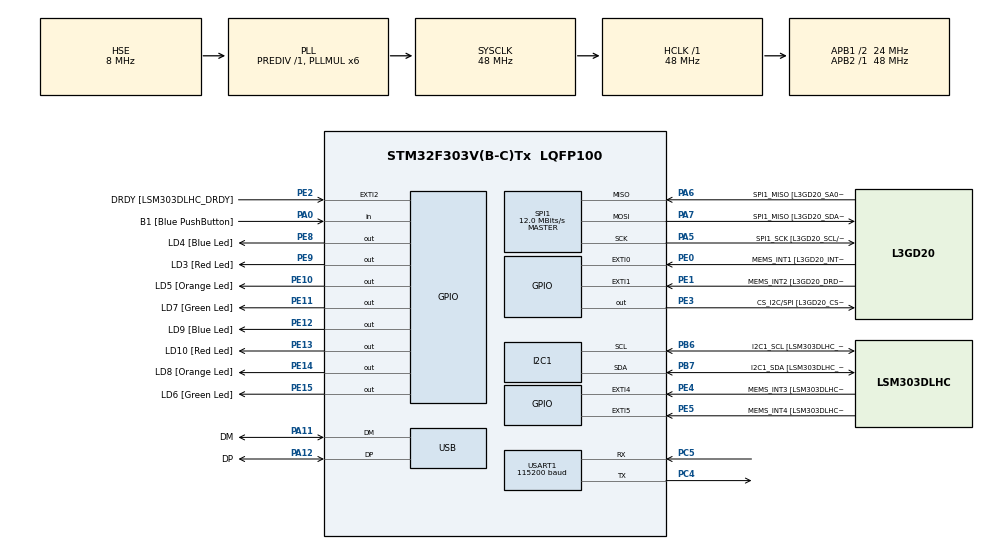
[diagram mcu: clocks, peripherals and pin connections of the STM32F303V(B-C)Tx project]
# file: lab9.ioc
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I2C1.Timing=0x00201D2B
I2C1.Timing-I2C=0x2000090E
Mcu.Family=STM32F3
Mcu.Name=STM32F303V(B-C)Tx
Mcu.Package=LQFP100
NVIC.PriorityGroup=NVIC_PRIORITYGROUP_0
PA0.GPIO_Label=B1 [Blue PushButton]
PA0.Signal=GPIO_Input
PA11.GPIO_Label=DM
PA11.Mode=Device
PA11.Signal=USB_DM
PA12.GPIO_Label=DP
PA12.Mode=Device
PA12.Signal=USB_DP
PA13.GPIO_Label=SWDIO
PA13.Mode=Serial_Wire
PA13.Signal=SYS_JTMS-SWDIO
PA14.GPIO_Label=SWCLK
PA14.Mode=Serial_Wire
PA14.Signal=SYS_JTCK-SWCLK
PA5.GPIO_Label=SPI1_SCK [L3GD20_SCL/SPC]
PA5.Mode=Full_Duplex_Master
PA5.Signal=SPI1_SCK
PA6.GPIO_Label=SPI1_MISO [L3GD20_SA0/SDO]
PA6.Mode=Full_Duplex_Master
PA6.Signal=SPI1_MISO
PA7.GPIO_Label=SPI1_MISO [L3GD20_SDA/SDI/SDO]
PA7.Mode=Full_Duplex_Master
PA7.Signal=SPI1_MOSI
PB3.GPIO_Label=SWO
PB3.Signal=SYS_JTDO-TRACESWO
PB6.GPIO_Label=I2C1_SCL [LSM303DLHC_SCL]
PB6.GPIO_Pu=GPIO_PULLUP
PB6.Mode=I2C
PB6.Signal=I2C1_SCL
PB7.GPIO_Label=I2C1_SDA [LSM303DLHC_SDA]
PB7.GPIO_Pu=GPIO_PULLUP
PB7.Mode=I2C
PB7.Signal=I2C1_SDA
PC14-OSC32_IN.GPIO_Label=OSC32_IN
PC14-OSC32_IN.Signal=RCC_OSC32_IN
PC15-OSC32_OUT.GPIO_Label=OSC32_OUT
PC15-OSC32_OUT.Signal=RCC_OSC32_OUT
PC4.Mode=Asynchronous
PC4.Signal=USART1_TX
PC5.Mode=Asynchronous
PC5.Signal=USART1_RX
PE0.GPIO_Label=MEMS_INT1 [L3GD20_INT1]
PE0.GPIO_ModeDefaultEXTI=GPIO_MODE_EVT_RISING
PE0.Signal=GPXTI0
PE1.GPIO_Label=MEMS_INT2 [L3GD20_DRDY/INT2]
PE1.GPIO_ModeDefaultEXTI=GPIO_MODE_EVT_RISING
PE1.Signal=GPXTI1
PE10.GPIO_Label=LD5 [Orange Led]
PE10.Signal=GPIO_Output
PE11.GPIO_Label=LD7 [Green Led]
PE11.Signal=GPIO_Output
PE12.GPIO_Label=LD9 [Blue Led]
PE12.Signal=GPIO_Output
PE13.GPIO_Label=LD10 [Red Led]
PE13.Signal=GPIO_Output
PE14.GPIO_Label=LD8 [Orange Led]
PE14.Signal=GPIO_Output
PE15.GPIO_Label=LD6 [Green Led]
PE15.Signal=GPIO_Output
PE2.GPIO_Label=DRDY [LSM303DLHC_DRDY]
PE2.GPIO_ModeDefaultEXTI=GPIO_MODE_EVT_RISING
PE2.Signal=GPXTI2
PE3.GPIO_Label=CS_I2C/SPI [L3GD20_CS_I2C/SPI]
PE3.Signal=GPIO_Output
PE4.GPIO_Label=MEMS_INT3 [LSM303DLHC_INT1]
PE4.GPIO_ModeDefaultEXTI=GPIO_MODE_EVT_RISING
PE4.Signal=GPXTI4
PE5.GPIO_Label=MEMS_INT4 [LSM303DLHC_INT2]
PE5.GPIO_ModeDefaultEXTI=GPIO_MODE_EVT_RISING
PE5.Signal=GPXTI5
PE8.GPIO_Label=LD4 [Blue Led]
PE8.Signal=GPIO_Output
PE9.GPIO_Label=LD3 [Red Led]
PE9.Signal=GPIO_Output
PF0-OSC_IN.GPIO_Label=OSC_IN
PF0-OSC_IN.Mode=HSE-External-Clock-Source
PF0-OSC_IN.Signal=RCC_OSC_IN
PF1-OSC_OUT.GPIO_Label=OSC_OUT
PF1-OSC_OUT.Signal=RCC_OSC_OUT
ProjectManager.HeapSize=0x200
ProjectManager.StackSize=0x400
ProjectManager.TargetToolchain=CMake
RCC.AHBFreq_Value=48000000
RCC.APB1CLKDivider=RCC_HCLK_DIV2
RCC.APB1Freq_Value=24000000
RCC.APB1TimFreq_Value=48000000
RCC.APB2Freq_Value=48000000
RCC.APB2TimFreq_Value=48000000
RCC.CortexFreq_Value=48000000
RCC.HCLKFreq_Value=48000000
RCC.HSE_VALUE=8000000
RCC.HSI_VALUE=8000000
RCC.LSE_VALUE=32768
RCC.PLLMUL=RCC_PLL_MUL6
RCC.SYSCLKFreq_VALUE=48000000
RCC.SYSCLKSourceVirtual=RCC_SYSCLKSOURCE_PLLCLK
RCC.USBFreq_Value=48000000
SPI1.BaudRatePrescaler=SPI_BAUDRATEPRESCALER_4
SPI1.BaudRatePrescaler-Full_Duplex_Master=SPI_BAUDRATEPRESCALER_2
SPI1.CalculateBaudRate=12.0 MBits/s
SPI1.CalculateBaudRate-Full_Duplex_Master=24.0 MBits/s
SPI1.Direction=SPI_DIRECTION_2LINES
SPI1.Mode=SPI_MODE_MASTER
SPI1.Mode-Full_Duplex_Master=SPI_MODE_MASTER
SPI1.VirtualType=VM_MASTER
USART1.BaudRate=115200
USART1.VirtualMode-Asynchronous=VM_ASYNC
board=STM32F3DISCOVERY

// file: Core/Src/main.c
/* USER CODE BEGIN Header */
/**
  ******************************************************************************
  * @file           : main.c
  * @brief          : Main program body
  ******************************************************************************
  * @attention
  *
  * Copyright (c) 2026 STMicroelectronics.
  * All rights reserved.
  *
  * This software is licensed under terms that can be found in the LICENSE file
  * in the root directory of this software component.
  * If no LICENSE file comes with this software, it is provided AS-IS.
  *
  ******************************************************************************
  */
/* USER CODE END Header */
#include "main.h"

/* USER CODE BEGIN Includes */
#include "stdio.h"
#include "stm32f3xx_hal.h"
#include "stm32f3xx_hal_i2c.h"
#include "string.h"
#include <stdint.h>
/* USER CODE END Includes */

/* USER CODE BEGIN PTD */
typedef struct {
  int16_t x_r , y_r , z_r;
  float x , y , z;
  float x_offset , y_offset , z_offset;
} sensor;

/* USER CODE END PTD */

I2C_HandleTypeDef hi2c1;

SPI_HandleTypeDef hspi1;

UART_HandleTypeDef huart1;

PCD_HandleTypeDef hpcd_USB_FS;

/* USER CODE BEGIN PV */

// Task 1:
// uint8_t recieve = 0;
// char msg[128];

/* USER CODE END PV */

void SystemClock_Config(void);
static void MX_GPIO_Init(void);
static void MX_I2C1_Init(void);
static void MX_SPI1_Init(void);
static void MX_USART1_UART_Init(void);
static void MX_USB_PCD_Init(void);
/* USER CODE BEGIN PFP */

// Task 2:
void Init_LSM() {
  uint8_t val1 = 0x67;
  uint8_t val2 = 0x00;
  HAL_I2C_Mem_Write(&hi2c1, 0x32, 0x20, I2C_MEMADD_SIZE_8BIT, &val1, 1, HAL_MAX_DELAY);
  HAL_I2C_Mem_Write(&hi2c1, 0x32, 0x23, I2C_MEMADD_SIZE_8BIT, &val2, 1, HAL_MAX_DELAY);
}

void Offset_LSM(sensor *lsm) {
  float x_total = 0;
  float y_total = 0;
  float z_total = 0;
  uint8_t xl , xh , yl , yh , zl , zh;
  for (int i = 0 ; i < 25 ; i++) {
    HAL_I2C_Mem_Read(&hi2c1, 0x33, 0x28, I2C_MEMADD_SIZE_8BIT, &xl, 1, HAL_MAX_DELAY);
    HAL_I2C_Mem_Read(&hi2c1, 0x33, 0x29, I2C_MEMADD_SIZE_8BIT, &xh, 1, HAL_MAX_DELAY);
    HAL_I2C_Mem_Read(&hi2c1, 0x33, 0x2A, I2C_MEMADD_SIZE_8BIT, &yl, 1, HAL_MAX_DELAY);
    HAL_I2C_Mem_Read(&hi2c1, 0x33, 0x2B, I2C_MEMADD_SIZE_8BIT, &yh, 1, HAL_MAX_DELAY);
    HAL_I2C_Mem_Read(&hi2c1, 0x33, 0x2C, I2C_MEMADD_SIZE_8BIT, &zl, 1, HAL_MAX_DELAY);
    HAL_I2C_Mem_Read(&hi2c1, 0x33, 0x2D, I2C_MEMADD_SIZE_8BIT, &zh, 1, HAL_MAX_DELAY);
    int16_t x = (int16_t) ((xh << 8) | xl);
    int16_t y = (int16_t) ((yh << 8) | yl);
    int16_t z = (int16_t) ((zh << 8) | zl);
    x = x >> 6;
    y = y >> 6;
    z = z >> 6;
    x_total += (x * 3.9 / 1000);
    y_total += (y * 3.9 / 1000);
    z_total += (z * 3.9 / 1000);
    // HAL_Delay(10);
  }
  lsm->x_offset = x_total / 25;
  lsm->y_offset = y_total / 25;
  lsm->z_offset = -1 + z_total / 25;
    }

void Read_LSM(sensor *lsm) {
  uint8_t xl , xh , yl , yh , zl , zh;
  HAL_I2C_Mem_Read(&hi2c1, 0x33, 0x28, I2C_MEMADD_SIZE_8BIT, &xl, 1, HAL_MAX_DELAY);
  HAL_I2C_Mem_Read(&hi2c1, 0x33, 0x29, I2C_MEMADD_SIZE_8BIT, &xh, 1, HAL_MAX_DELAY);
  HAL_I2C_Mem_Read(&hi2c1, 0x33, 0x2A, I2C_MEMADD_SIZE_8BIT, &yl, 1, HAL_MAX_DELAY);
  HAL_I2C_Mem_Read(&hi2c1, 0x33, 0x2B, I2C_MEMADD_SIZE_8BIT, &yh, 1, HAL_MAX_DELAY);
  HAL_I2C_Mem_Read(&hi2c1, 0x33, 0x2C, I2C_MEMADD_SIZE_8BIT, &zl, 1, HAL_MAX_DELAY);
  HAL_I2C_Mem_Read(&hi2c1, 0x33, 0x2D, I2C_MEMADD_SIZE_8BIT, &zh, 1, HAL_MAX_DELAY);
  lsm->x_r = (int16_t) ((xh << 8) | xl);
  lsm->y_r = (int16_t) ((yh << 8) | yl);
  lsm->z_r = (int16_t) ((zh << 8) | zl);
  lsm->x_r = lsm->x_r >> 6;
  lsm->y_r = lsm->y_r >> 6;
  lsm->z_r = lsm->z_r >> 6;
  lsm->x = (lsm->x_r * 3.9 / 1000) - lsm->x_offset;
  lsm->y = (lsm->y_r * 3.9 / 1000) - lsm->y_offset;
  lsm->z = (lsm->z_r * 3.9 / 1000) - lsm->z_offset;
}

void Print_LSM(sensor *lsm) {
  char msg[128];
  int len = sprintf(msg, "%.2f,%.2f,%.2f \r\n" , lsm->x , lsm->y , lsm->z);
  // int len = sprintf(msg, "%.2f \r\n" , lsm->x);
  HAL_UART_Transmit(&huart1 , (uint8_t*)msg , len , HAL_MAX_DELAY);
}

/* USER CODE END PFP */

int main(void)
{

  /* MCU Configuration--------------------------------------------------------*/

  /* Reset of all peripherals, Initializes the Flash interface and the Systick. */
  HAL_Init();

  /* Configure the system clock */
  SystemClock_Config();

  /* Initialize all configured peripherals */
  MX_GPIO_Init();
  MX_I2C1_Init();
  MX_SPI1_Init();
  MX_USART1_UART_Init();
  MX_USB_PCD_Init();

  /* Infinite loop */
  /* USER CODE BEGIN WHILE */

  // Task 2:
  sensor lsm = {0};
  Init_LSM();
  Offset_LSM(&lsm);

  while (1)
  {
    // Task 2:
    Read_LSM(&lsm);
    Print_LSM(&lsm);
    HAL_Delay(500);

    // TASK 1:
    // HAL_I2C_Mem_Read(&hi2c1 , 0x33 , 0x0F , I2C_MEMADD_SIZE_8BIT , &recieve , 1 , HAL_MAX_DELAY);
    // int len = sprintf(msg, "%X \r\n" , recieve);
    // HAL_UART_Transmit(&huart1 , (uint8_t*)msg , len , HAL_MAX_DELAY);
    // HAL_Delay(100);

    /* USER CODE END WHILE */

  }
}

void SystemClock_Config(void)
{
  RCC_OscInitTypeDef RCC_OscInitStruct = {0};
  RCC_ClkInitTypeDef RCC_ClkInitStruct = {0};
  RCC_PeriphCLKInitTypeDef PeriphClkInit = {0};

  /** Initializes the RCC Oscillators according to the specified parameters
  * in the RCC_OscInitTypeDef structure.
  */
  RCC_OscInitStruct.OscillatorType = RCC_OSCILLATORTYPE_HSI|RCC_OSCILLATORTYPE_HSE;
  RCC_OscInitStruct.HSEState = RCC_HSE_BYPASS;
  RCC_OscInitStruct.HSEPredivValue = RCC_HSE_PREDIV_DIV1;
  RCC_OscInitStruct.HSIState = RCC_HSI_ON;
  RCC_OscInitStruct.HSICalibrationValue = RCC_HSICALIBRATION_DEFAULT;
  RCC_OscInitStruct.PLL.PLLState = RCC_PLL_ON;
  RCC_OscInitStruct.PLL.PLLSource = RCC_PLLSOURCE_HSE;
  RCC_OscInitStruct.PLL.PLLMUL = RCC_PLL_MUL6;
  if (HAL_RCC_OscConfig(&RCC_OscInitStruct) != HAL_OK)
  {
    Error_Handler();
  }

  /** Initializes the CPU, AHB and APB buses clocks
  */
  RCC_ClkInitStruct.ClockType = RCC_CLOCKTYPE_HCLK|RCC_CLOCKTYPE_SYSCLK
                              |RCC_CLOCKTYPE_PCLK1|RCC_CLOCKTYPE_PCLK2;
  RCC_ClkInitStruct.SYSCLKSource = RCC_SYSCLKSOURCE_PLLCLK;
  RCC_ClkInitStruct.AHBCLKDivider = RCC_SYSCLK_DIV1;
  RCC_ClkInitStruct.APB1CLKDivider = RCC_HCLK_DIV2;
  RCC_ClkInitStruct.APB2CLKDivider = RCC_HCLK_DIV1;

  if (HAL_RCC_ClockConfig(&RCC_ClkInitStruct, FLASH_LATENCY_1) != HAL_OK)
  {
    Error_Handler();
  }
  PeriphClkInit.PeriphClockSelection = RCC_PERIPHCLK_USB|RCC_PERIPHCLK_USART1
                              |RCC_PERIPHCLK_I2C1;
  PeriphClkInit.Usart1ClockSelection = RCC_USART1CLKSOURCE_PCLK2;
  PeriphClkInit.I2c1ClockSelection = RCC_I2C1CLKSOURCE_HSI;
  PeriphClkInit.USBClockSelection = RCC_USBCLKSOURCE_PLL;
  if (HAL_RCCEx_PeriphCLKConfig(&PeriphClkInit) != HAL_OK)
  {
    Error_Handler();
  }
}

static void MX_I2C1_Init(void)
{

  hi2c1.Instance = I2C1;
  hi2c1.Init.Timing = 0x00201D2B;
  hi2c1.Init.OwnAddress1 = 0;
  hi2c1.Init.AddressingMode = I2C_ADDRESSINGMODE_7BIT;
  hi2c1.Init.DualAddressMode = I2C_DUALADDRESS_DISABLE;
  hi2c1.Init.OwnAddress2 = 0;
  hi2c1.Init.OwnAddress2Masks = I2C_OA2_NOMASK;
  hi2c1.Init.GeneralCallMode = I2C_GENERALCALL_DISABLE;
  hi2c1.Init.NoStretchMode = I2C_NOSTRETCH_DISABLE;
  if (HAL_I2C_Init(&hi2c1) != HAL_OK)
  {
    Error_Handler();
  }

  /** Configure Analogue filter
  */
  if (HAL_I2CEx_ConfigAnalogFilter(&hi2c1, I2C_ANALOGFILTER_ENABLE) != HAL_OK)
  {
    Error_Handler();
  }

  /** Configure Digital filter
  */
  if (HAL_I2CEx_ConfigDigitalFilter(&hi2c1, 0) != HAL_OK)
  {
    Error_Handler();
  }

}

static void MX_SPI1_Init(void)
{

  /* SPI1 parameter configuration*/
  hspi1.Instance = SPI1;
  hspi1.Init.Mode = SPI_MODE_MASTER;
  hspi1.Init.Direction = SPI_DIRECTION_2LINES;
  hspi1.Init.DataSize = SPI_DATASIZE_4BIT;
  hspi1.Init.CLKPolarity = SPI_POLARITY_LOW;
  hspi1.Init.CLKPhase = SPI_PHASE_1EDGE;
  hspi1.Init.NSS = SPI_NSS_SOFT;
  hspi1.Init.BaudRatePrescaler = SPI_BAUDRATEPRESCALER_4;
  hspi1.Init.FirstBit = SPI_FIRSTBIT_MSB;
  hspi1.Init.TIMode = SPI_TIMODE_DISABLE;
  hspi1.Init.CRCCalculation = SPI_CRCCALCULATION_DISABLE;
  hspi1.Init.CRCPolynomial = 7;
  hspi1.Init.CRCLength = SPI_CRC_LENGTH_DATASIZE;
  hspi1.Init.NSSPMode = SPI_NSS_PULSE_ENABLE;
  if (HAL_SPI_Init(&hspi1) != HAL_OK)
  {
    Error_Handler();
  }

}

static void MX_USART1_UART_Init(void)
{

  huart1.Instance = USART1;
  huart1.Init.BaudRate = 115200;
  huart1.Init.WordLength = UART_WORDLENGTH_8B;
  huart1.Init.StopBits = UART_STOPBITS_1;
  huart1.Init.Parity = UART_PARITY_NONE;
  huart1.Init.Mode = UART_MODE_TX_RX;
  huart1.Init.HwFlowCtl = UART_HWCONTROL_NONE;
  huart1.Init.OverSampling = UART_OVERSAMPLING_16;
  huart1.Init.OneBitSampling = UART_ONE_BIT_SAMPLE_DISABLE;
  huart1.AdvancedInit.AdvFeatureInit = UART_ADVFEATURE_NO_INIT;
  if (HAL_UART_Init(&huart1) != HAL_OK)
  {
    Error_Handler();
  }

}

static void MX_USB_PCD_Init(void)
{

  hpcd_USB_FS.Instance = USB;
  hpcd_USB_FS.Init.dev_endpoints = 8;
  hpcd_USB_FS.Init.speed = PCD_SPEED_FULL;
  hpcd_USB_FS.Init.phy_itface = PCD_PHY_EMBEDDED;
  hpcd_USB_FS.Init.low_power_enable = DISABLE;
  hpcd_USB_FS.Init.battery_charging_enable = DISABLE;
  if (HAL_PCD_Init(&hpcd_USB_FS) != HAL_OK)
  {
    Error_Handler();
  }

}

static void MX_GPIO_Init(void)
{
  GPIO_InitTypeDef GPIO_InitStruct = {0};

  /* GPIO Ports Clock Enable */
  __HAL_RCC_GPIOE_CLK_ENABLE();
  __HAL_RCC_GPIOC_CLK_ENABLE();
  __HAL_RCC_GPIOF_CLK_ENABLE();
  __HAL_RCC_GPIOA_CLK_ENABLE();
  __HAL_RCC_GPIOB_CLK_ENABLE();

  /*Configure GPIO pin Output Level */
  HAL_GPIO_WritePin(GPIOE, CS_I2C_SPI_Pin|LD4_Pin|LD3_Pin|LD5_Pin
                          |LD7_Pin|LD9_Pin|LD10_Pin|LD8_Pin
                          |LD6_Pin, GPIO_PIN_RESET);

  /*Configure GPIO pins : DRDY_Pin MEMS_INT3_Pin MEMS_INT4_Pin MEMS_INT1_Pin
                           MEMS_INT2_Pin */
  GPIO_InitStruct.Pin = DRDY_Pin|MEMS_INT3_Pin|MEMS_INT4_Pin|MEMS_INT1_Pin
                          |MEMS_INT2_Pin;
  GPIO_InitStruct.Mode = GPIO_MODE_EVT_RISING;
  GPIO_InitStruct.Pull = GPIO_NOPULL;
  HAL_GPIO_Init(GPIOE, &GPIO_InitStruct);

  /*Configure GPIO pins : CS_I2C_SPI_Pin LD4_Pin LD3_Pin LD5_Pin
                           LD7_Pin LD9_Pin LD10_Pin LD8_Pin
                           LD6_Pin */
  GPIO_InitStruct.Pin = CS_I2C_SPI_Pin|LD4_Pin|LD3_Pin|LD5_Pin
                          |LD7_Pin|LD9_Pin|LD10_Pin|LD8_Pin
                          |LD6_Pin;
  GPIO_InitStruct.Mode = GPIO_MODE_OUTPUT_PP;
  GPIO_InitStruct.Pull = GPIO_NOPULL;
  GPIO_InitStruct.Speed = GPIO_SPEED_FREQ_LOW;
  HAL_GPIO_Init(GPIOE, &GPIO_InitStruct);

  /*Configure GPIO pin : B1_Pin */
  GPIO_InitStruct.Pin = B1_Pin;
  GPIO_InitStruct.Mode = GPIO_MODE_INPUT;
  GPIO_InitStruct.Pull = GPIO_NOPULL;
  HAL_GPIO_Init(B1_GPIO_Port, &GPIO_InitStruct);

}

void Error_Handler(void)
{
  __disable_irq();
  while (1)
  {
  }
}
